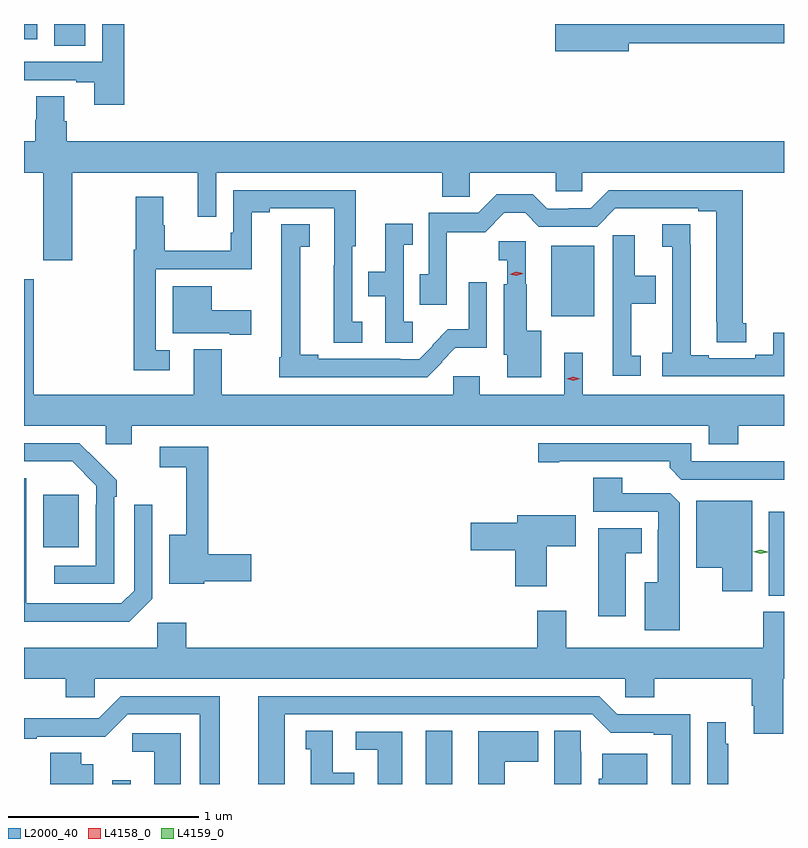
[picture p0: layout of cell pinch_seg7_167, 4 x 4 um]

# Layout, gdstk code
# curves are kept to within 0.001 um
import gdstk
lib = gdstk.Library(unit=1e-6, precision=1e-09)
def R(c, l, rs):  # rectangles x0, y0, x1, y1
    for r in rs: c.add(gdstk.rectangle(r[:2], r[2:], *l))
def P(c, l, *ps):  # polygons
    for p in ps: c.add(gdstk.Polygon(p, *l))
L2000_40 = (2000, 40)
L4158_0 = (4158, 0)
L4159_0 = (4159, 0)

pinch_seg7_167 = lib.new_cell('pinch_seg7_167')
R(pinch_seg7_167, L2000_40, [(1080.753,1030.698,1080.849,1030.717), (1082.402,1030.698,1082.542,1030.979), (1084.208,1031.69,1084.288,1032.132), (1080.389,1031.945,1080.577,1032.22), (1083.062,1033.16,1083.289,1033.531), (1080.446,1034.584,1080.61,1034.698), (1080.288,1034.619,1080.358,1034.698)])
P(pinch_seg7_167, L2000_40, [(1080.815,1034.698),(1080.699,1034.698),(1080.699,1034.499),(1080.288,1034.499),(1080.288,1034.403),(1080.563,1034.403),(1080.563,1034.391),(1080.659,1034.391),(1080.659,1034.274),(1080.815,1034.274)],
  [(1083.472,1034.596),(1084.288,1034.596),(1084.288,1034.698),(1083.233,1034.698),(1083.233,1034.696),(1083.084,1034.696),(1083.084,1034.554),(1083.472,1034.554)],
  [(1080.543,1033.916),(1081.202,1033.916),(1081.202,1033.683),(1081.299,1033.683),(1081.299,1033.916),(1082.488,1033.916),(1082.488,1033.789),(1082.634,1033.789),(1082.634,1033.916),(1083.087,1033.916),(1083.087,1033.818),(1083.225,1033.818),(1083.225,1033.916),(1084.288,1033.916),(1084.288,1034.08),(1080.512,1034.08),(1080.512,1034.186),(1080.499,1034.186),(1080.499,1034.318),(1080.352,1034.318),(1080.352,1034.193),(1080.347,1034.193),(1080.347,1034.08),(1080.288,1034.08),(1080.288,1033.916),(1080.388,1033.916),(1080.388,1033.455),(1080.543,1033.455)],
  [(1081.054,1032.981),(1080.981,1032.981),(1080.981,1033.407),(1081.486,1033.407),(1081.486,1033.708),(1081.582,1033.708),(1081.582,1033.728),(1081.92,1033.728),(1081.92,1033.427),(1081.919,1033.427),(1081.919,1033.021),(1082.068,1033.021),(1082.068,1033.132),(1082.016,1033.132),(1082.016,1033.527),(1082.035,1033.527),(1082.035,1033.824),(1081.389,1033.824),(1081.389,1033.6),(1081.377,1033.6),(1081.377,1033.504),(1081.029,1033.504),(1081.029,1033.638),(1081.021,1033.638),(1081.021,1033.789),(1080.877,1033.789),(1080.877,1033.51),(1080.865,1033.51),(1080.865,1032.876),(1081.054,1032.876)],
  [(1084.09,1033.122),(1084.072,1033.122),(1084.072,1033.824),(1083.366,1033.824),(1083.27,1033.728),(1083.155,1033.728),(1083.155,1033.725),(1083.042,1033.725),(1082.966,1033.801),(1082.776,1033.801),(1082.679,1033.704),(1082.418,1033.704),(1082.418,1033.382),(1082.371,1033.382),(1082.371,1033.221),(1082.514,1033.221),(1082.514,1033.603),(1082.716,1033.603),(1082.816,1033.704),(1082.926,1033.704),(1082.997,1033.632),(1083.306,1033.632),(1083.401,1033.727),(1083.836,1033.728),(1083.836,1033.713),(1083.932,1033.713),(1083.933,1033.024),(1084.09,1033.024)],
  [(1082.335,1033.132),(1082.286,1033.132),(1082.286,1033.535),(1082.333,1033.535),(1082.333,1033.648),(1082.189,1033.648),(1082.189,1033.394),(1082.101,1033.394),(1082.101,1033.266),(1082.19,1033.266),(1082.19,1033.021),(1082.335,1033.021)],
  [(1084.288,1033.072),(1084.232,1033.072),(1084.232,1032.958),(1084.136,1032.958),(1084.136,1032.939),(1083.892,1032.939),(1083.892,1032.954),(1083.796,1032.954),(1083.796,1033.535),(1083.795,1033.535),(1083.795,1033.643),(1083.648,1033.643),(1083.648,1033.525),(1083.699,1033.525),(1083.699,1032.967),(1083.648,1032.967),(1083.648,1032.843),(1084.288,1032.843)],
  [(1082.488,1032.917),(1082.486,1032.92),(1082.559,1032.993),(1082.724,1032.993),(1082.724,1033.339),(1082.628,1033.339),(1082.628,1033.091),(1082.519,1033.091),(1082.436,1033.008),(1082.439,1033.005),(1082.367,1032.933),(1082.267,1032.933),(1082.267,1032.936),(1081.837,1032.936),(1081.837,1032.956),(1081.742,1032.956),(1081.742,1033.525),(1081.792,1033.525),(1081.792,1033.643),(1081.643,1033.643),(1081.643,1032.943),(1081.632,1032.943),(1081.632,1032.84),(1082.41,1032.84)],
  [(1083.535,1032.951),(1083.485,1032.951),(1083.485,1033.226),(1083.614,1033.226),(1083.614,1033.374),(1083.502,1033.374),(1083.502,1033.585),(1083.386,1033.585),(1083.386,1032.846),(1083.535,1032.846)],
  [(1083.01,1033.084),(1082.935,1033.084),(1082.935,1033.329),(1082.929,1033.329),(1082.929,1033.554),(1082.787,1033.554),(1082.787,1033.455),(1082.832,1033.455),(1082.832,1033.329),(1082.813,1033.329),(1082.813,1032.957),(1082.831,1032.957),(1082.831,1032.839),(1083.01,1032.839)],
  [(1084.046,1032.584),(1084.288,1032.584),(1084.288,1032.748),(1083.229,1032.748),(1083.229,1032.967),(1083.132,1032.967),(1083.132,1032.748),(1082.686,1032.748),(1082.686,1032.844),(1082.547,1032.844),(1082.547,1032.748),(1081.329,1032.748),(1081.329,1032.985),(1081.181,1032.985),(1081.181,1032.748),(1080.34,1032.748),(1080.34,1033.354),(1080.288,1033.354),(1080.288,1032.584),(1080.717,1032.584),(1080.717,1032.486),(1080.856,1032.486),(1080.856,1032.584),(1083.893,1032.584),(1083.893,1032.485),(1084.046,1032.485)],
  [(1081.483,1033.192),(1081.276,1033.192),(1081.276,1033.318),(1081.07,1033.318),(1081.07,1033.07),(1081.37,1033.07),(1081.37,1033.063),(1081.483,1033.063)],
  [(1080.762,1032.209),(1080.777,1032.209),(1080.777,1032.297),(1080.58,1032.492),(1080.288,1032.492),(1080.288,1032.396),(1080.541,1032.396),(1080.669,1032.267),(1080.669,1032.167),(1080.666,1032.167),(1080.666,1031.847),(1080.447,1031.847),(1080.447,1031.751),(1080.762,1031.751)],
  [(1084.288,1032.396),(1083.801,1032.396),(1083.801,1032.492),(1082.994,1032.492),(1082.994,1032.391),(1083.106,1032.391),(1083.106,1032.396),(1083.686,1032.396),(1083.686,1032.362),(1083.747,1032.3),(1084.288,1032.3)],
  [(1081.236,1031.764),(1081.483,1031.764),(1081.483,1031.906),(1081.259,1031.906),(1081.259,1032.474),(1081.002,1032.474),(1081.002,1032.366),(1081.142,1032.366),(1081.142,1032.01),(1081.052,1032.01),(1081.052,1031.753),(1081.236,1031.753)],
  [(1083.739,1032.179),(1083.69,1032.228),(1083.436,1032.228),(1083.436,1032.311),(1083.284,1032.311),(1083.284,1032.132),(1083.627,1032.132),(1083.627,1032.035),(1083.623,1032.035),(1083.623,1031.761),(1083.554,1031.761),(1083.554,1031.507),(1083.739,1031.507)],
  [(1080.963,1031.673),(1080.963,1032.169),(1080.867,1032.169),(1080.867,1031.715),(1080.801,1031.649),(1080.301,1031.649),(1080.301,1031.849),(1080.3,1031.849),(1080.3,1032.306),(1080.288,1032.306),(1080.288,1031.552),(1080.842,1031.552)],
  [(1084.12,1032.19),(1083.827,1032.19),(1083.827,1031.837),(1083.962,1031.837),(1083.962,1031.712),(1084.12,1031.712)],
  [(1083.04,1031.95),(1083.193,1031.95),(1083.193,1032.112),(1082.885,1032.112),(1082.885,1032.074),(1082.64,1032.074),(1082.64,1031.927),(1082.873,1031.927),(1082.873,1031.739),(1083.04,1031.739)],
  [(1083.454,1031.912),(1083.538,1031.912),(1083.538,1032.043),(1083.311,1032.043),(1083.311,1031.58),(1083.454,1031.58)],
  [(1084.283,1031.252),(1084.288,1031.252),(1084.288,1031.605),(1084.18,1031.605),(1084.18,1031.416),(1083.142,1031.416),(1083.142,1031.611),(1082.99,1031.611),(1082.99,1031.416),(1081.142,1031.416),(1081.142,1031.548),(1080.99,1031.548),(1080.99,1031.416),(1080.288,1031.416),(1080.288,1031.252),(1080.509,1031.252),(1080.509,1031.154),(1080.66,1031.154),(1080.66,1031.252),(1083.453,1031.252),(1083.453,1031.154),(1083.605,1031.154),(1083.605,1031.252),(1084.118,1031.252),(1084.118,1031.11),(1084.13,1031.11),(1084.13,1030.962),(1084.283,1030.962)],
  [(1081.318,1031.16),(1080.798,1031.16),(1080.681,1031.043),(1080.425,1031.043),(1080.425,1031.045),(1080.288,1031.045),(1080.288,1030.935),(1080.355,1030.935),(1080.355,1030.947),(1080.716,1030.946),(1080.834,1031.064),(1081.214,1031.064),(1081.214,1030.698),(1081.318,1030.698)],
  [(1081.66,1031.064),(1083.279,1031.064),(1083.375,1030.968),(1083.602,1030.968),(1083.602,1030.956),(1083.698,1030.956),(1083.698,1030.698),(1083.795,1030.698),(1083.795,1031.064),(1083.411,1031.064),(1083.315,1031.16),(1081.52,1031.16),(1081.52,1030.698),(1081.66,1030.698)],
  [(1083.994,1030.91),(1083.982,1030.91),(1083.982,1031.023),(1083.885,1031.023),(1083.885,1030.698),(1083.994,1030.698)],
  [(1082.026,1030.756),(1081.912,1030.756),(1081.912,1030.979),(1081.772,1030.979),(1081.772,1030.881),(1081.796,1030.881),(1081.796,1030.698),(1082.026,1030.698)],
  [(1083.22,1030.868),(1083.219,1030.868),(1083.219,1030.979),(1083.08,1030.979),(1083.08,1030.698),(1083.22,1030.698)],
  [(1082.818,1030.816),(1082.995,1030.816),(1082.995,1030.975),(1082.678,1030.975),(1082.678,1030.698),(1082.818,1030.698)],
  [(1082.278,1030.974),(1082.034,1030.974),(1082.034,1030.878),(1082.15,1030.878),(1082.15,1030.698),(1082.278,1030.698)],
  [(1081.114,1030.965),(1080.858,1030.965),(1080.858,1030.868),(1080.974,1030.868),(1080.974,1030.698),(1081.114,1030.698)],
  [(1080.652,1030.801),(1080.589,1030.801),(1080.589,1030.862),(1080.425,1030.862),(1080.425,1030.698),(1080.652,1030.698)],
  [(1083.568,1030.858),(1083.332,1030.858),(1083.332,1030.725),(1083.314,1030.725),(1083.314,1030.698),(1083.568,1030.698)])
P(pinch_seg7_167, L4158_0, [(1083.18,1032.821),(1083.145,1032.83),(1083.145,1032.831),(1083.145,1032.831),(1083.18,1032.841),(1083.215,1032.831),(1083.215,1032.831),(1083.215,1032.83)],
  [(1082.88,1033.373),(1082.845,1033.381),(1082.844,1033.381),(1082.845,1033.382),(1082.879,1033.393),(1082.914,1033.385),(1082.914,1033.384),(1082.914,1033.384)])
P(pinch_seg7_167, L4159_0, [(1084.164,1031.91),(1084.127,1031.921),(1084.126,1031.921),(1084.127,1031.921),(1084.164,1031.93),(1084.202,1031.92),(1084.202,1031.919),(1084.202,1031.919)])

lib.write_gds('pinch_seg7_167.gds')
